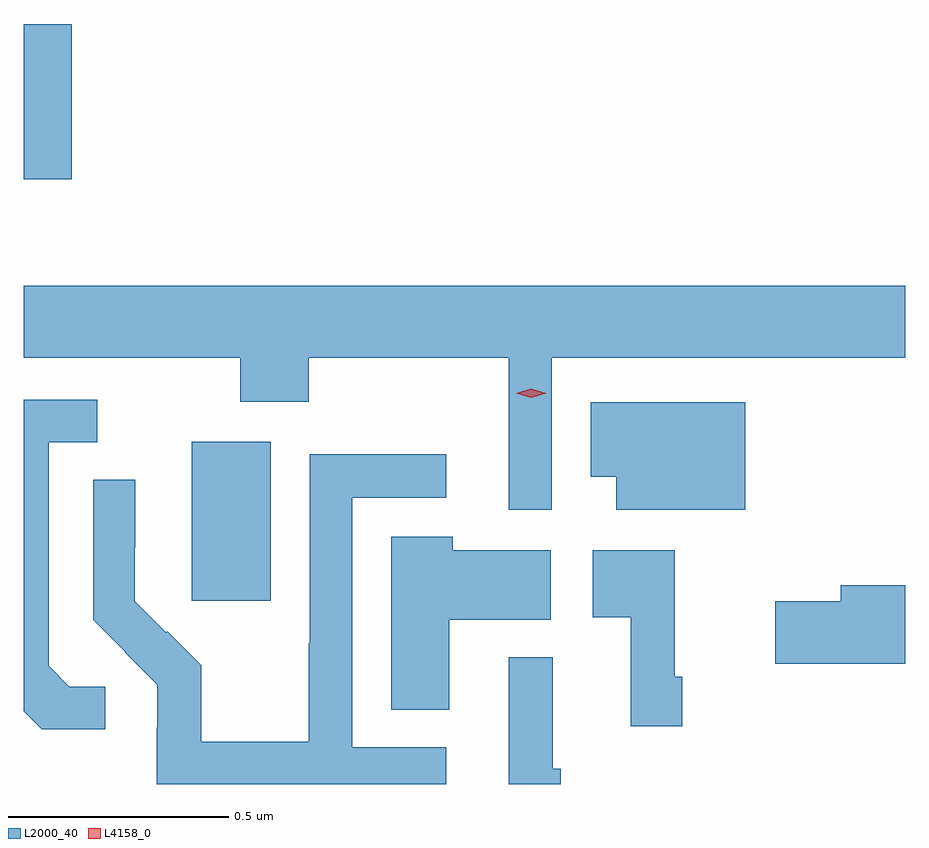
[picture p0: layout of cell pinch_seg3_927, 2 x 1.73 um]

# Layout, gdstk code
import gdstk
lib = gdstk.Library(unit=1e-6, precision=1e-09)
def R(c, l, rs):  # rectangles x0, y0, x1, y1
    for r in rs: c.add(gdstk.rectangle(r[:2], r[2:], *l))
def P(c, l, *ps):  # polygons
    for p in ps: c.add(gdstk.Polygon(p, *l))
L2000_40 = (2000, 40)
L4158_0 = (4158, 0)

pinch_seg3_927 = lib.new_cell('pinch_seg3_927')
R(pinch_seg3_927, L2000_40, [(817.136,677.721,817.315,678.082), (816.755,678.678,816.863,679.03)])
P(pinch_seg3_927, L2000_40, [(817.953,678.272),(818.755,678.272),(818.755,678.436),(816.755,678.436),(816.755,678.272),(817.246,678.272),(817.246,678.173),(817.401,678.173),(817.401,678.272),(817.856,678.272),(817.856,677.928),(817.953,677.928)],
  [(816.94,677.526),(816.858,677.526),(816.811,677.573),(816.811,678.081),(816.922,678.081),(816.922,678.177),(816.755,678.177),(816.755,677.47),(816.796,677.429),(816.94,677.429)],
  [(818.392,678.172),(818.042,678.172),(818.042,678.002),(818.099,678.002),(818.099,677.927),(818.392,677.927)],
  [(817.714,677.388),(817.5,677.388),(817.5,677.955),(817.714,677.955),(817.714,678.054),(817.404,678.054),(817.404,677.624),(817.402,677.624),(817.402,677.401),(817.157,677.401),(817.157,677.575),(817.08,677.652),(817.077,677.649),(817.007,677.72),(817.007,677.842),(817.008,677.842),(817.008,677.996),(816.912,677.996),(816.912,677.678),(816.985,677.605),(816.984,677.604),(817.058,677.53),(817.058,677.433),(817.056,677.433),(817.056,677.305),(817.714,677.305)],
  [(817.72,677.678),(817.951,677.678),(817.951,677.836),(817.728,677.836),(817.728,677.866),(817.589,677.866),(817.589,677.473),(817.72,677.473)],
  [(818.249,677.548),(818.232,677.548),(818.232,677.836),(818.046,677.836),(818.046,677.684),(818.132,677.684),(818.132,677.436),(818.249,677.436)],
  [(818.755,677.756),(818.609,677.756),(818.609,677.72),(818.46,677.72),(818.46,677.578),(818.755,677.578)],
  [(817.973,677.34),(817.955,677.34),(817.955,677.593),(817.856,677.593),(817.856,677.305),(817.973,677.305)])
P(pinch_seg3_927, L4158_0, [(817.906,678.182),(817.872,678.192),(817.872,678.192),(817.872,678.192),(817.906,678.202),(817.941,678.192),(817.941,678.192),(817.941,678.192)])

lib.write_gds('pinch_seg3_927.gds')
